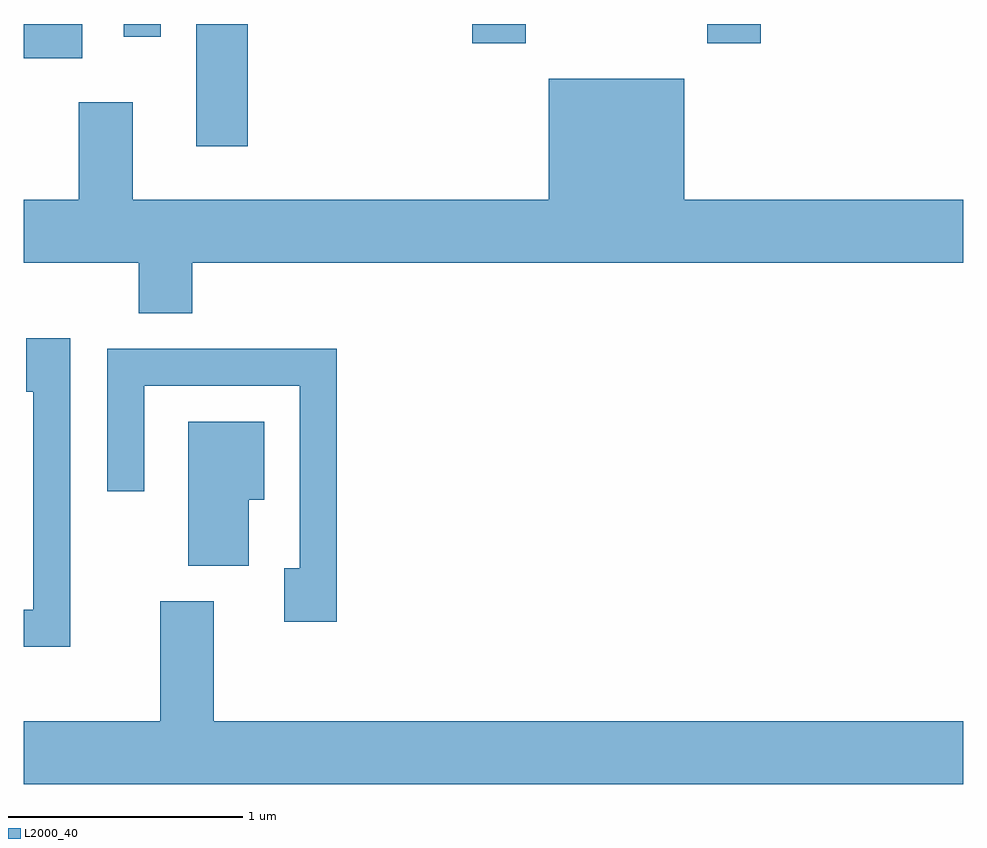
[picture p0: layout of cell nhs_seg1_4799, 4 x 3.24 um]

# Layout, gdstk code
import gdstk
lib = gdstk.Library(unit=1e-6, precision=1e-09)
def R(c, l, rs):  # rectangles x0, y0, x1, y1
    for r in rs: c.add(gdstk.rectangle(r[:2], r[2:], *l))
def P(c, l, *ps):  # polygons
    for p in ps: c.add(gdstk.Polygon(p, *l))
L2000_40 = (2000, 40)

nhs_seg1_4799 = lib.new_cell('nhs_seg1_4799')
R(nhs_seg1_4799, L2000_40, [(330.346,891.191,330.564,891.712), (329.611,891.566,329.859,891.712), (331.521,891.631,331.749,891.712), (332.521,891.631,332.749,891.712), (330.036,891.658,330.194,891.712)])
P(nhs_seg1_4799, L2000_40, [(330.329,890.696),(333.611,890.696),(333.611,890.964),(332.424,890.964),(332.424,891.479),(331.846,891.479),(331.846,890.964),(330.074,890.964),(330.074,891.379),(329.846,891.379),(329.846,890.964),(329.611,890.964),(329.611,890.696),(330.101,890.696),(330.101,890.481),(330.329,890.481)],
  [(329.809,890.374),(329.621,890.374),(329.621,890.146),(329.651,890.146),(329.651,889.219),(329.611,889.219),(329.611,889.061),(329.809,889.061)],
  [(330.944,890.329),(329.966,890.329),(329.966,889.723),(330.124,889.723),(330.124,890.171),(330.786,890.171),(330.786,889.394),(330.721,889.394),(330.721,889.166),(330.944,889.166)],
  [(330.569,889.686),(330.634,889.686),(330.634,890.019),(330.311,890.019),(330.311,889.406),(330.569,889.406)],
  [(333.611,888.744),(330.419,888.744),(330.419,889.254),(330.191,889.254),(330.191,888.744),(329.611,888.744),(329.611,888.476),(333.611,888.476)])

lib.write_gds('nhs_seg1_4799.gds')
